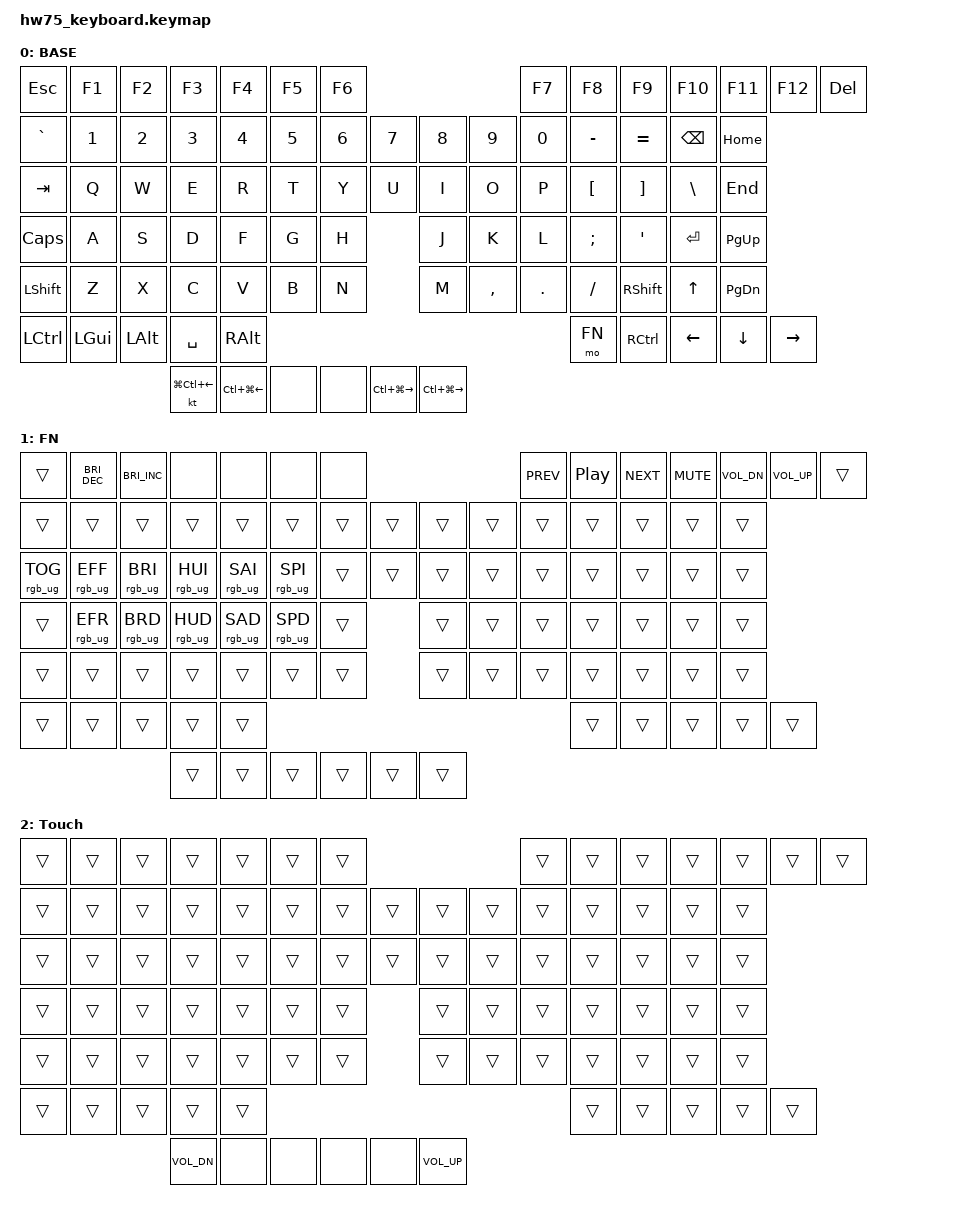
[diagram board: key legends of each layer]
/*
 * Copyright (c) 2022 The ZMK Contributors
 * SPDX-License-Identifier: MIT
 */

#include <behaviors.dtsi>
#include <dt-bindings/zmk/keys.h>
#include <dt-bindings/zmk/keys.h>
#include <dt-bindings/zmk/rgb.h>

#define BASE 0
#define FN 1
#define TOUCH 2

&sl {
    release-after-ms = <500>;
};

/ {
    keymap {
        compatible = "zmk,keymap";

        base {
            label = "BASE";
            bindings = <
&kp ESC              &kp F1    &kp F2                  &kp F3            &kp F4             &kp F5             &kp F6             &kp F7     &kp F8               &kp F9     &kp F10   &kp F11   &kp F12              &kp DELETE
&kp GRAVE  &kp N1    &kp N2    &kp N3                  &kp N4            &kp N5  &kp N6     &kp N7             &kp N8             &kp N9     &kp N0    &kp MINUS  &kp EQUAL  &kp BSPC                                 &kp HOME
&kp TAB              &kp Q     &kp W                   &kp E             &kp R   &kp T      &kp Y              &kp U              &kp I      &kp O     &kp P      &kp LBKT   &kp RBKT  &kp BSLH                       &kp END
&kp CLCK             &kp A     &kp S                   &kp D             &kp F   &kp G      &kp H              &kp J              &kp K      &kp L     &kp SEMI   &kp SQT              &kp RET                        &kp PG_UP
&kp LSHFT            &kp Z     &kp X                   &kp C             &kp V   &kp B      &kp N              &kp M              &kp COMMA  &kp DOT   &kp FSLH   &kp RSHFT                      &kp UP               &kp PG_DN
&kp LCTRL  &kp LGUI  &kp LALT                                                    &kp SPACE                                                   &kp RALT  &mo FN     &kp RCTRL            &kp LEFT  &kp DOWN  &kp RIGHT
                               &kt LG(LC(LEFT_ARROW))  &kp LC(LG(LEFT))  &none   &none      &kp LC(LG(RIGHT))  &kp LC(LG(RIGHT))
            >;
        };

        fn {
            label = "FN";
            bindings = <
&trans                   &kp C_BRI_DEC    &kp C_BRI_INC    &none            &none                             &none   &none   &kp C_PREV  &kp C_PP          &kp C_NEXT  &kp C_MUTE  &kp C_VOL_DN  &kp C_VOL_UP          &trans
&trans           &trans  &trans           &trans           &trans           &trans           &trans           &trans  &trans  &trans      &trans    &trans  &trans      &trans                                          &trans
&rgb_ug RGB_TOG          &rgb_ug RGB_EFF  &rgb_ug RGB_BRI  &rgb_ug RGB_HUI  &rgb_ug RGB_SAI  &rgb_ug RGB_SPI  &trans  &trans  &trans      &trans    &trans  &trans      &trans      &trans                              &trans
&trans                   &rgb_ug RGB_EFR  &rgb_ug RGB_BRD  &rgb_ug RGB_HUD  &rgb_ug RGB_SAD  &rgb_ug RGB_SPD  &trans  &trans  &trans      &trans    &trans  &trans                  &trans                              &trans
&trans                   &trans           &trans           &trans           &trans           &trans           &trans  &trans  &trans      &trans    &trans  &trans                                &trans                &trans
&trans           &trans  &trans                                                              &trans                                       &trans    &trans  &trans                  &trans        &trans        &trans
                                          &trans           &trans           &trans           &trans           &trans  &trans
            >;
        };

        touch {
            label = "Touch";
            bindings = <
&trans          &trans  &trans        &trans  &trans          &trans  &trans        &trans  &trans          &trans  &trans  &trans  &trans          &trans
&trans  &trans  &trans  &trans        &trans  &trans  &trans  &trans  &trans        &trans  &trans  &trans  &trans  &trans                          &trans
&trans          &trans  &trans        &trans  &trans  &trans  &trans  &trans        &trans  &trans  &trans  &trans  &trans  &trans                  &trans
&trans          &trans  &trans        &trans  &trans  &trans  &trans  &trans        &trans  &trans  &trans  &trans          &trans                  &trans
&trans          &trans  &trans        &trans  &trans  &trans  &trans  &trans        &trans  &trans  &trans  &trans                  &trans          &trans
&trans  &trans  &trans                                &trans                                &trans  &trans  &trans          &trans  &trans  &trans
                        &kp C_VOL_DN  &none   &none   &none   &none   &kp C_VOL_UP
            >;
        };
    };
};
